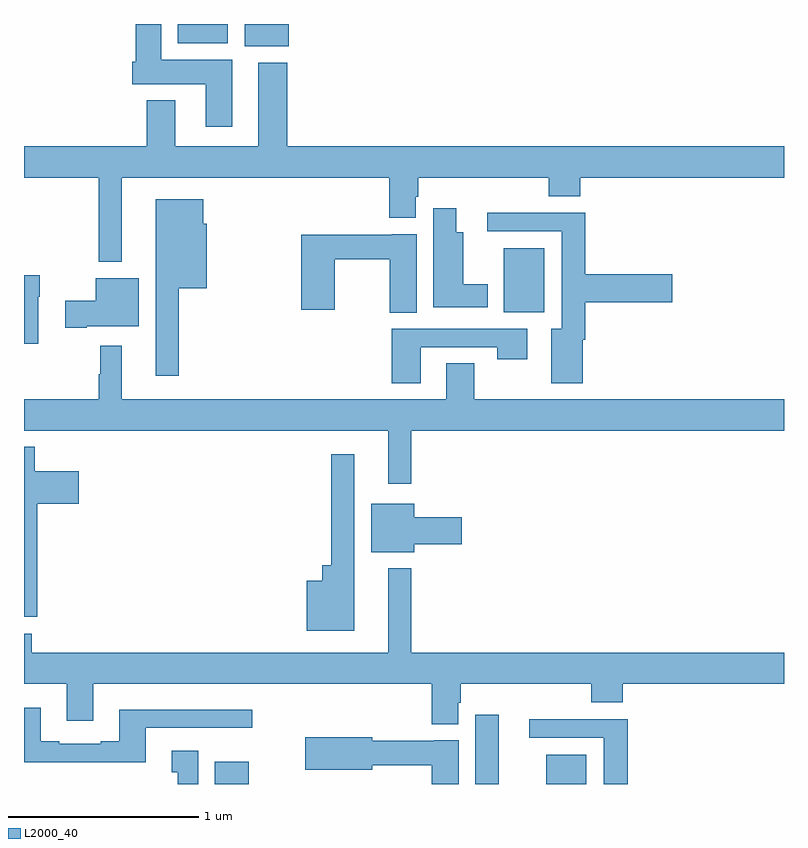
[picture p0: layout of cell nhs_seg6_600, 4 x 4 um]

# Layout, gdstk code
import gdstk
lib = gdstk.Library(unit=1e-6, precision=1e-09)
def R(c, l, rs):  # rectangles x0, y0, x1, y1
    for r in rs: c.add(gdstk.rectangle(r[:2], r[2:], *l))
def P(c, l, *ps):  # polygons
    for p in ps: c.add(gdstk.Polygon(p, *l))
L2000_40 = (2000, 40)

nhs_seg6_600 = lib.new_cell('nhs_seg6_600')
R(nhs_seg6_600, L2000_40, [(150.005,921.5,150.184,921.616), (151.376,921.5,151.498,921.865), (151.748,921.5,151.96,921.655), (151.526,923.984,151.738,924.319), (150.161,925.382,150.394,925.5), (149.81,925.4,150.073,925.5)])
P(nhs_seg6_600, L2000_40, [(150.097,925.312),(149.722,925.312),(149.722,925.5),(149.588,925.5),(149.588,925.302),(149.57,925.302),(149.57,925.184),(149.957,925.184),(149.957,924.96),(150.097,924.96)],
  [(149.515,924.692),(150.923,924.692),(150.923,924.479),(151.063,924.479),(151.063,924.591),(151.076,924.591),(151.076,924.692),(151.763,924.692),(151.763,924.593),(151.928,924.593),(151.928,924.692),(153,924.692),(153,924.856),(150.386,924.856),(150.386,925.297),(150.233,925.297),(150.233,924.856),(149.797,924.856),(149.797,925.099),(149.645,925.099),(149.645,924.856),(149,924.856),(149,924.692),(149.394,924.692),(149.394,924.248),(149.515,924.248)],
  [(149.815,924.11),(149.962,924.11),(149.962,924.45),(149.944,924.45),(149.944,924.577),(149.693,924.577),(149.693,923.649),(149.815,923.649)],
  [(151.441,924.13),(151.312,924.13),(151.312,924.403),(151.276,924.403),(151.276,924.529),(151.154,924.529),(151.154,924.008),(151.441,924.008)],
  [(151.942,923.837),(151.955,923.837),(151.955,924.035),(152.413,924.035),(152.413,924.182),(151.955,924.182),(151.955,924.506),(151.437,924.506),(151.437,924.408),(151.829,924.408),(151.829,923.896),(151.775,923.896),(151.775,923.61),(151.942,923.61)],
  [(151.066,924.394),(150.936,924.394),(150.936,924.391),(150.458,924.391),(150.458,923.997),(150.636,923.997),(150.636,924.262),(150.925,924.262),(150.925,923.98),(151.066,923.98)],
  [(149.074,924.065),(149.082,924.065),(149.082,924.178),(149,924.178),(149,923.818),(149.074,923.818)],
  [(149.329,923.909),(149.605,923.909),(149.605,924.163),(149.378,924.163),(149.378,924.044),(149.217,924.044),(149.217,923.902),(149.329,923.902)],
  [(151.087,923.799),(151.492,923.799),(151.492,923.736),(151.648,923.736),(151.648,923.895),(150.935,923.895),(150.935,923.61),(151.087,923.61)],
  [(151.039,923.36),(153,923.36),(153,923.524),(151.371,923.524),(151.371,923.714),(151.223,923.714),(151.223,923.524),(149.515,923.524),(149.515,923.806),(149.401,923.806),(149.401,923.657),(149.394,923.657),(149.394,923.524),(149,923.524),(149,923.36),(150.917,923.36),(150.917,923.079),(151.039,923.079)],
  [(149.069,922.976),(149.287,922.976),(149.287,923.146),(149.056,923.146),(149.056,923.275),(149,923.275),(149,922.379),(149.069,922.379)],
  [(150.739,923.236),(150.618,923.236),(150.618,922.651),(150.569,922.651),(150.569,922.57),(150.488,922.57),(150.488,922.307),(150.739,922.307)],
  [(151.054,922.763),(151.303,922.763),(151.303,922.905),(151.054,922.905),(151.054,922.975),(150.827,922.975),(150.827,922.721),(151.054,922.721)],
  [(151.285,921.927),(151.298,921.927),(151.298,922.028),(151.985,922.028),(151.985,921.929),(152.15,921.929),(152.15,922.028),(153,922.028),(153,922.192),(151.039,922.192),(151.039,922.636),(150.917,922.636),(150.917,922.192),(149.042,922.192),(149.042,922.291),(149,922.291),(149,922.028),(149.225,922.028),(149.225,921.834),(149.365,921.834),(149.365,922.028),(151.145,922.028),(151.145,921.815),(151.285,921.815)],
  [(149.641,921.795),(150.202,921.795),(150.202,921.892),(149.501,921.892),(149.501,921.724),(149.405,921.724),(149.405,921.711),(149.185,921.711),(149.185,921.724),(149.089,921.724),(149.089,921.901),(149,921.901),(149,921.614),(149.641,921.614)],
  [(152.177,921.842),(151.659,921.842),(151.659,921.744),(152.051,921.744),(152.051,921.5),(152.177,921.5)],
  [(151.288,921.73),(151.158,921.73),(151.158,921.727),(150.832,921.727),(150.832,921.745),(150.48,921.745),(150.48,921.575),(150.832,921.575),(150.832,921.598),(151.147,921.598),(151.147,921.5),(151.288,921.5)],
  [(149.917,921.676),(149.777,921.676),(149.777,921.563),(149.81,921.563),(149.81,921.5),(149.917,921.5)])

lib.write_gds('nhs_seg6_600.gds')
